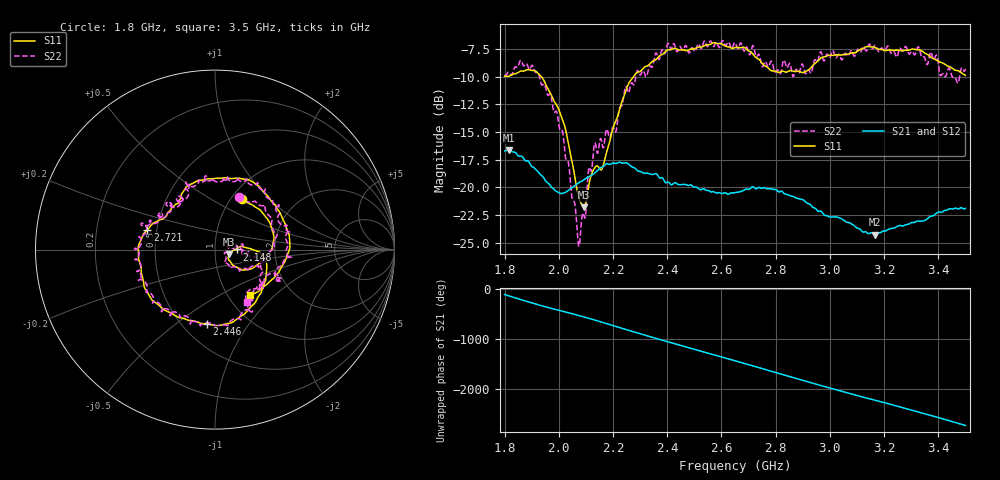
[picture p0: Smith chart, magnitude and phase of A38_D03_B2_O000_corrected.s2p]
! Created with skrf 1.9.0 (http://scikit-rf.org).
# Hz S RI R 50.0
!freq ReS11 ImS11 ReS21 ImS21 ReS12 ImS12 ReS22 ImS22
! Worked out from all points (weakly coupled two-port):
!   1601 points, 1.8 GHz to 3.5 GHz, reference 50 ohm
!   highest |S21| = -16.64 dB at 1.817 GHz (marker M1); lowest = -24.3 dB at 3.165 GHz (marker M2)
!   lowest |S11| = -21.8 dB at 2.092 GHz (marker M3), VSWR 1.18, Z = 58.3 - j2.81 ohm
!   |S11| at or under -10 dB: 1.935 GHz to 2.276 GHz (341.3 MHz wide, 16.2 % of centre)
!   |S22| runs from -25.3 to -6.7 dB; largest |S21 - S12| = 0.0025
!   S11 on the Smith chart (normalised r, x): 1.8 GHz: 1.12, +0.70; 2.148 GHz: 1.28, +0.00; 2.446 GHz: 0.65, -0.65; 2.721 GHz: 0.44, +0.12; 3.5 GHz: 1.26, -0.71
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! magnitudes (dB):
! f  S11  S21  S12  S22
! 1.8 GHz  -10.0  -16.7  -16.7  -9.8
! 1.817 GHz  -10.0  -16.6  -16.7  -9.6
! 1.903 GHz  -9.5  -18.2  -18.2  -9.0
! 1.968 GHz  -11.5  -19.8  -19.9  -11.6
! 2.014 GHz  -13.9  -20.5  -20.6  -15.0
! 2.071 GHz  -20.6  -19.6  -19.7  -24.9
! 2.084 GHz  -21.5  -19.5  -19.4  -23.0
! 2.092 GHz  -21.8  -19.3  -19.4  -22.5
! 2.113 GHz  -19.5  -19.0  -19.0  -18.2
! 2.148 GHz  -18.2  -18.4  -18.3  -16.2
! 2.209 GHz  -14.1  -17.9  -17.8  -15.0
! 2.259 GHz  -10.5  -17.9  -17.9  -11.4
! 2.367 GHz  -8.2  -19.0  -19.0  -8.4
! 2.446 GHz  -7.6  -19.8  -19.8  -7.3
! 2.65 GHz  -7.4  -20.5  -20.5  -6.9
! 2.721 GHz  -8.1  -20.0  -20.0  -7.6
! 2.803 GHz  -9.6  -20.2  -20.3  -9.5
! 2.934 GHz  -9.1  -21.7  -21.7  -9.5
! 3.165 GHz  -7.4  -24.3  -24.2  -7.2
! 3.217 GHz  -7.6  -23.8  -23.8  -7.4
! 3.469 GHz  -9.5  -21.9  -21.9  -10.5
! 3.5 GHz  -9.9  -21.9  -21.9  -9.3
